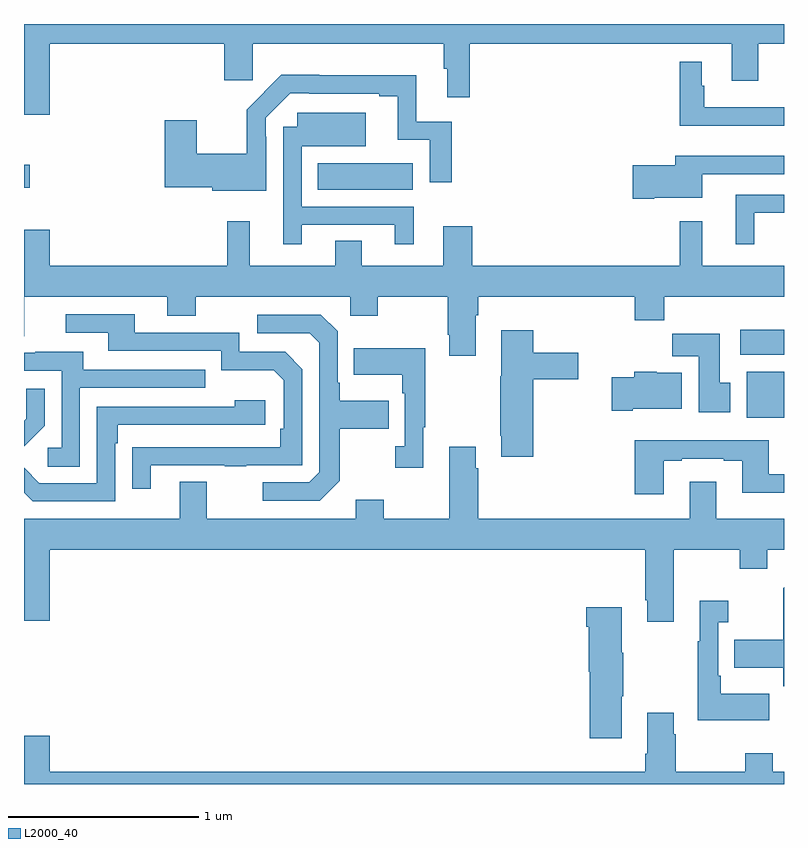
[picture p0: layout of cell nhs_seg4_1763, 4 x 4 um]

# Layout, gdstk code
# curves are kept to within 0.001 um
import gdstk
lib = gdstk.Library(unit=1e-6, precision=1e-09)
def R(c, l, rs):  # rectangles x0, y0, x1, y1
    for r in rs: c.add(gdstk.rectangle(r[:2], r[2:], *l))
def P(c, l, *ps):  # polygons
    for p in ps: c.add(gdstk.Polygon(p, *l))
L2000_40 = (2000, 40)

nhs_seg4_1763 = lib.new_cell('nhs_seg4_1763')
R(nhs_seg4_1763, L2000_40, [(204.803,818.828,205,819.07), (204.771,819.158,205,819.292), (202.546,820.028,203.047,820.168), (201,820.037,201.031,820.159)])
P(nhs_seg4_1763, L2000_40, [(201.136,820.796),(202.055,820.796),(202.055,820.605),(202.205,820.605),(202.205,820.796),(203.209,820.796),(203.209,820.664),(203.228,820.664),(203.228,820.515),(203.345,820.515),(203.345,820.796),(204.725,820.796),(204.725,820.602),(204.865,820.602),(204.865,820.796),(205,820.796),(205,820.9),(201,820.9),(201,820.422),(201.136,820.422)],
  [(205,820.462),(204.58,820.462),(204.58,820.574),(204.568,820.574),(204.568,820.702),(204.451,820.702),(204.451,820.364),(205,820.364)],
  [(202.275,820.307),(202.272,820.307),(202.272,820.407),(202.401,820.536),(202.501,820.536),(202.501,820.533),(202.871,820.533),(202.871,820.521),(202.967,820.521),(202.967,820.29),(203.136,820.29),(203.136,820.068),(203.252,820.068),(203.252,820.386),(203.065,820.386),(203.065,820.63),(202.553,820.63),(202.553,820.633),(202.354,820.633),(202.172,820.45),(202.172,820.216),(201.91,820.216),(201.91,820.393),(201.74,820.393),(201.74,820.04),(201.99,820.04),(201.99,820.022),(202.275,820.022)],
  [(202.462,819.843),(202.952,819.843),(202.952,819.741),(203.05,819.741),(203.05,819.939),(202.461,819.939),(202.461,820.256),(202.798,820.256),(202.798,820.432),(202.437,820.432),(202.437,820.359),(202.365,820.359),(202.365,819.741),(202.462,819.741)],
  [(204.316,819.986),(204.571,819.986),(204.571,820.11),(205,820.11),(205,820.207),(204.428,820.207),(204.428,820.157),(204.204,820.157),(204.204,819.979),(204.316,819.979)],
  [(204.844,819.906),(205,819.906),(205,820.002),(204.746,820.002),(204.746,819.741),(204.844,819.741)],
  [(203.377,819.368),(203.39,819.368),(203.39,819.464),(204.215,819.464),(204.215,819.34),(204.371,819.34),(204.371,819.464),(205,819.464),(205,819.628),(204.569,819.628),(204.569,819.862),(204.451,819.862),(204.451,819.628),(203.36,819.628),(203.36,819.835),(203.207,819.835),(203.207,819.628),(202.777,819.628),(202.777,819.758),(202.637,819.758),(202.637,819.628),(202.187,819.628),(202.187,819.862),(202.069,819.862),(202.069,819.628),(201.136,819.628),(201.136,819.817),(201,819.817),(201,819.256),(201.001,819.256),(201.001,819.464),(201.755,819.464),(201.755,819.365),(201.903,819.365),(201.903,819.464),(202.716,819.464),(202.716,819.365),(202.863,819.365),(202.863,819.464),(203.23,819.464),(203.23,819.265),(203.237,819.265),(203.237,819.153),(203.377,819.153)],
  [(201.667,818.577),(202.057,818.577),(202.057,818.572),(202.169,818.572),(202.169,818.577),(202.464,818.577),(202.464,819.084),(202.374,819.174),(202.134,819.174),(202.134,819.276),(201.583,819.276),(201.583,819.372),(201.219,819.372),(201.219,819.276),(201.443,819.276),(201.443,819.18),(202.038,819.18),(202.038,819.077),(202.315,819.077),(202.368,819.024),(202.368,818.77),(202.348,818.77),(202.348,818.673),(201.571,818.672),(201.571,818.454),(201.667,818.454)],
  [(202.663,818.497),(202.663,818.77),(202.919,818.77),(202.919,818.917),(202.663,818.917),(202.663,819.013),(202.65,819.013),(202.65,819.282),(202.563,819.369),(202.227,819.369),(202.227,819.273),(202.503,819.273),(202.554,819.222),(202.554,818.541),(202.5,818.487),(202.257,818.487),(202.257,818.391),(202.557,818.391)],
  [(203.681,819.029),(203.917,819.029),(203.917,819.171),(203.681,819.171),(203.681,819.289),(203.513,819.289),(203.513,819.045),(203.506,819.045),(203.506,818.734),(203.513,818.734),(203.513,818.622),(203.681,818.622)],
  [(204.718,819.012),(204.661,819.012),(204.661,819.271),(204.412,819.271),(204.412,819.152),(204.551,819.152),(204.551,818.856),(204.718,818.856)],
  [(203.101,818.777),(203.113,818.777),(203.113,819.193),(202.735,819.193),(202.735,819.053),(202.992,819.053),(202.992,818.957),(203.004,818.957),(203.004,818.678),(202.953,818.678),(202.953,818.565),(203.101,818.565)],
  [(201.294,818.985),(201.953,818.985),(201.953,819.081),(201.313,819.081),(201.313,819.175),(201.059,819.175),(201.059,819.171),(201,819.171),(201,819.075),(201.198,819.075),(201.198,818.67),(201.126,818.67),(201.126,818.569),(201.294,818.569)],
  [(204.205,818.876),(204.463,818.876),(204.463,819.064),(204.33,819.064),(204.33,819.07),(204.212,819.07),(204.212,819.042),(204.093,819.042),(204.093,818.864),(204.205,818.864)],
  [(201.108,818.786),(201.108,818.98),(201.011,818.98),(201.011,818.823),(201,818.812),(201,818.678)],
  [(201.48,818.693),(201.493,818.693),(201.493,818.79),(202.27,818.79),(202.27,818.92),(202.109,818.92),(202.109,818.886),(201.384,818.886),(201.384,818.484),(201.081,818.484),(201,818.565),(201,818.433),(201.045,818.388),(201.48,818.388)],
  [(204.367,818.601),(204.463,818.601),(204.463,818.613),(204.683,818.613),(204.683,818.601),(204.779,818.601),(204.779,818.432),(205,818.432),(205,818.529),(204.919,818.529),(204.919,818.71),(204.215,818.71),(204.215,818.424),(204.367,818.424)],
  [(204.421,818.132),(204.766,818.132),(204.766,818.033),(204.913,818.033),(204.913,818.132),(205,818.132),(205,818.296),(204.643,818.296),(204.643,818.491),(204.503,818.491),(204.503,818.296),(203.39,818.296),(203.39,818.561),(203.377,818.561),(203.377,818.674),(203.237,818.674),(203.237,818.296),(202.893,818.296),(202.893,818.395),(202.745,818.395),(202.745,818.296),(201.961,818.296),(201.961,818.491),(201.821,818.491),(201.821,818.296),(201,818.296),(201,817.758),(201.136,817.758),(201.136,818.132),(204.269,818.132),(204.269,817.867),(204.281,817.867),(204.281,817.755),(204.421,817.755)],
  [(205,817.935),(204.996,817.931),(204.996,817.659),(204.739,817.659),(204.739,817.511),(204.996,817.511),(204.996,817.415),(205,817.415)],
  [(204.923,817.375),(204.667,817.375),(204.667,817.471),(204.654,817.471),(204.654,817.751),(204.706,817.751),(204.706,817.864),(204.557,817.864),(204.557,817.651),(204.546,817.651),(204.546,817.235),(204.923,817.235)],
  [(204.145,817.363),(204.153,817.363),(204.153,817.591),(204.145,817.591),(204.145,817.831),(203.96,817.831),(203.96,817.727),(203.972,817.727),(203.972,817.491),(203.978,817.491),(203.978,817.14),(204.145,817.14)],
  [(205,816.964),(204.942,816.964),(204.942,817.063),(204.796,817.063),(204.796,816.964),(204.429,816.964),(204.429,817.163),(204.421,817.163),(204.421,817.276),(204.281,817.276),(204.281,817.06),(204.269,817.06),(204.269,816.964),(201.136,816.964),(201.136,817.153),(201,817.153),(201,816.9),(205,816.9)])

lib.write_gds('nhs_seg4_1763.gds')
